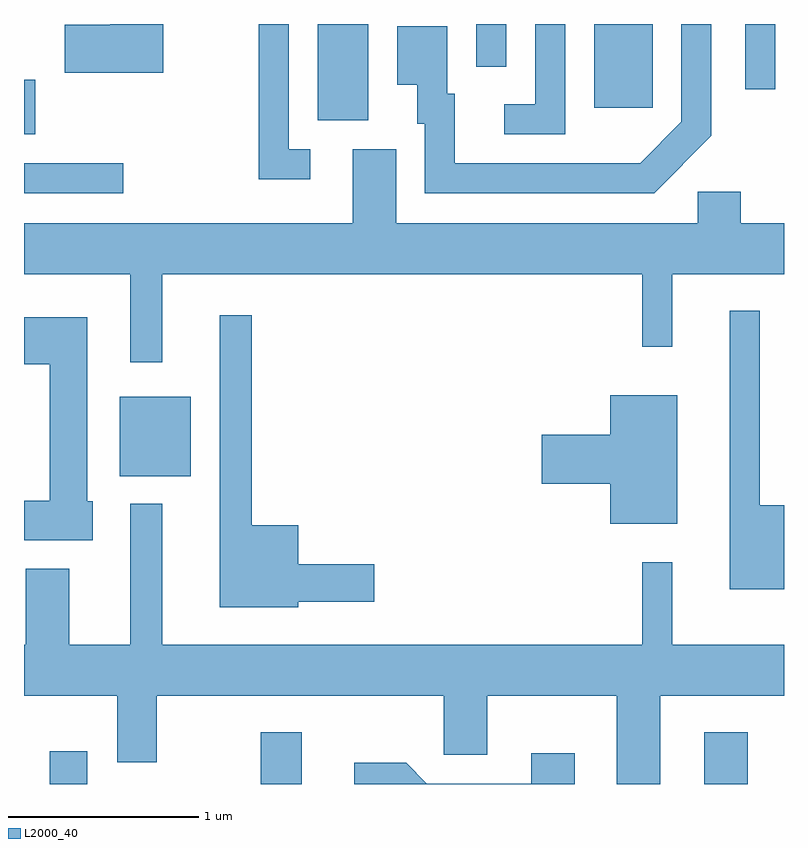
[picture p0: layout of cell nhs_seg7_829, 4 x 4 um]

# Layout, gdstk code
import gdstk
lib = gdstk.Library(unit=1e-6, precision=1e-09)
def R(c, l, rs):  # rectangles x0, y0, x1, y1
    for r in rs: c.add(gdstk.rectangle(r[:2], r[2:], *l))
def P(c, l, *ps):  # polygons
    for p in ps: c.add(gdstk.Polygon(p, *l))
L2000_40 = (2000, 40)

nhs_seg7_829 = lib.new_cell('nhs_seg7_829')
R(nhs_seg7_829, L2000_40, [(209.746,1758.252,209.944,1758.424), (210.856,1758.252,211.074,1758.524), (213.191,1758.252,213.419,1758.524), (210.116,1759.871,210.489,1760.289), (209.611,1761.361,210.133,1761.519), (209.611,1761.671,209.669,1761.959), (211.156,1761.746,211.424,1762.252), (212.611,1761.811,212.919,1762.252), (213.406,1761.908,213.564,1762.252), (211.991,1762.028,212.149,1762.252)])
P(nhs_seg7_829, L2000_40, [(212.459,1762.252),(212.301,1762.252),(212.301,1761.829),(212.138,1761.829),(212.138,1761.671),(212.459,1761.671)],
  [(210.344,1762.252),(210.066,1762.252),(210.066,1762.249),(209.826,1762.249),(209.826,1761.996),(210.344,1761.996)],
  [(213.229,1761.664),(213.229,1762.252),(213.071,1762.252),(213.071,1761.737),(212.854,1761.519),(211.879,1761.519),(211.879,1761.884),(211.839,1761.884),(211.839,1762.239),(211.576,1762.239),(211.576,1761.931),(211.681,1761.931),(211.681,1761.726),(211.721,1761.726),(211.721,1761.361),(212.927,1761.361)],
  [(211.118,1761.594),(211.004,1761.594),(211.004,1762.252),(210.846,1762.252),(210.846,1761.436),(211.118,1761.436)],
  [(210.339,1760.936),(212.866,1760.936),(212.866,1760.553),(213.024,1760.553),(213.024,1760.936),(213.611,1760.936),(213.611,1761.204),(213.384,1761.204),(213.384,1761.369),(213.156,1761.369),(213.156,1761.204),(211.569,1761.204),(211.569,1761.594),(211.341,1761.594),(211.341,1761.204),(209.611,1761.204),(209.611,1760.936),(210.171,1760.936),(210.171,1760.473),(210.339,1760.473)],
  [(213.611,1759.719),(213.484,1759.719),(213.484,1760.743),(213.326,1760.743),(213.326,1759.276),(213.611,1759.276)],
  [(211.054,1759.211),(211.454,1759.211),(211.454,1759.409),(211.054,1759.409),(211.054,1759.614),(210.809,1759.614),(210.809,1760.718),(210.641,1760.718),(210.641,1759.181),(211.054,1759.181)],
  [(209.974,1759.739),(209.944,1759.739),(209.944,1760.709),(209.611,1760.709),(209.611,1760.461),(209.746,1760.461),(209.746,1759.744),(209.611,1759.744),(209.611,1759.536),(209.974,1759.536)],
  [(213.049,1760.299),(212.696,1760.299),(212.696,1760.089),(212.336,1760.089),(212.336,1759.831),(212.696,1759.831),(212.696,1759.621),(213.049,1759.621)],
  [(212.959,1758.716),(213.611,1758.716),(213.611,1758.984),(213.024,1758.984),(213.024,1759.418),(212.866,1759.418),(212.866,1758.984),(210.339,1758.984),(210.339,1759.728),(210.171,1759.728),(210.171,1758.984),(209.849,1758.984),(209.849,1759.384),(209.621,1759.384),(209.621,1758.984),(209.611,1758.984),(209.611,1758.716),(210.101,1758.716),(210.101,1758.366),(210.309,1758.366),(210.309,1758.716),(211.821,1758.716),(211.821,1758.406),(212.049,1758.406),(212.049,1758.716),(212.731,1758.716),(212.731,1758.252),(212.959,1758.252)],
  [(212.509,1758.414),(212.281,1758.414),(212.281,1758.254),(211.732,1758.254),(211.622,1758.364),(211.348,1758.364),(211.348,1758.252),(212.509,1758.252)])

lib.write_gds('nhs_seg7_829.gds')
